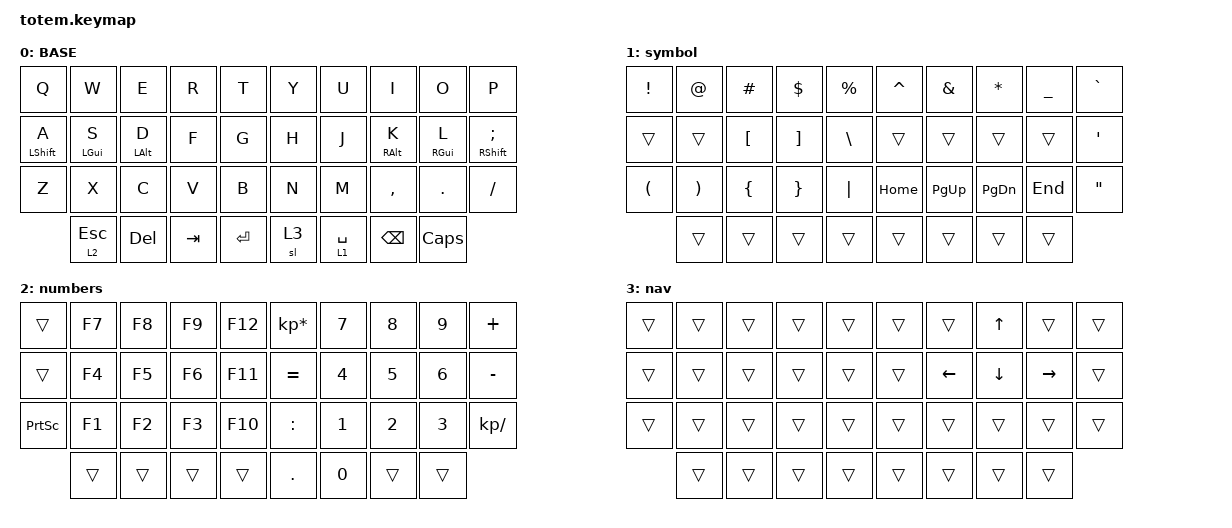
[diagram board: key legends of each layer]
//
//                                                        ▀▀▀▀▀     ▀▀▀▀▀          ▀▀█▀▀
//                                                        ▄▀▀▀▄  ▄  ▄▀▀▀▄  ▄  ▄▀▀▀▄  █  ▄▀▀▀▄
//                                                        █   █  █  █   █  █  █   █  █  █   █
//                                                         ▀▀▀   █   ▀▀▀   █   ▀▀▀   ▀   ▀▀▀
//                                                               █      ▄▄▄█▄▄▄    █   █  
//                                                               ▀      █  █  █     █▄█
//                                                             ▀▀▀▀▀    █  █  █      ▀
//                                                                      ▀  ▀  ▀
//
// ▄▄▄▄▄▄▄▄▄▄▄▄▄▄▄▄▄▄▄▄▄▄▄▄▄▄▄▄▄▄▄▄▄▄▄▄▄▄▄▄▄▄▄▄▄▄▄▄▄▄▄▄▄▄▄▄▄▄▄▄▄▄▄▄▄▄▄▄▄▄▄▄▄▄▄▄▄▄▄▄▄▄▄▄▄▄▄▄▄▄▄▄▄▄▄▄▄▄▄▄▄▄▄▄▄▄▄▄▄▄▄▄▄▄▄▄▄▄▄▄▄▄▄▄▄▄▄▄▄▄▄▄▄▄▄▄▄▄▄▄▄▄▄▄▄▄▄▄▄

#include <behaviors.dtsi>
#include <dt-bindings/zmk/keys.h>

#define BASE 0
#define SYM  1   // was NAV
#define NUM  2   // was SYM
#define NAV  3   // was ADJ

&mt {
    quick-tap-ms = <100>;
    global-quick-tap;
    flavor = "tap-preferred";
    tapping-term-ms = <170>;
};

/ {
    combos {
        compatible = "zmk,combos";

        combo_esc {
            timeout-ms = <50>;
            key-positions = <0 1>;
            bindings = <&kp ESC>;
        };

        Enter {
            bindings = <&kp ENTER>;
            key-positions = <16 17 18>;
        };
    };

    macros {
        gif: gif {
            label = "giphy";
            compatible = "zmk,behavior-macro";
            #binding-cells = <0>;
            bindings =
                <&macro_press>,
                <&kp LSHFT>,
                <&macro_tap>,
                <&kp N2>,
                <&macro_release>,
                <&kp LSHFT>,
                <&macro_tap>,
                <&kp G &kp I &kp F>;
        };
    };

    behaviors {
        HMShiftR: HMShiftR {
            compatible = "zmk,behavior-hold-tap";
            label = "HMSHIFTR";
            bindings = <&kp>, <&kp>;

            #binding-cells = <2>;
            tapping-term-ms = <200>;
            hold-while-undecided;
            hold-trigger-key-positions = <20 21 10 0 1 11 22 2 12 23 3 13 24 25 14 4 33 34 32>;
            hold-trigger-on-release;
        };

        HMShiftL: HMShiftL {
            compatible = "zmk,behavior-hold-tap";
            label = "HMSHIFTL";
            bindings = <&kp>, <&kp>;

            #binding-cells = <2>;
            tapping-term-ms = <200>;
            hold-while-undecided;
            hold-trigger-on-release;
            hold-trigger-key-positions = <31 30 19 8 18 29 9 7 17 28 6 16 27 5 15 26 35 36 37>;
        };

        HMR: HMR {
            compatible = "zmk,behavior-hold-tap";
            label = "HMR";
            bindings = <&kp>, <&kp>;

            #binding-cells = <2>;
            tapping-term-ms = <200>;
            hold-while-undecided;
            hold-trigger-key-positions = <20 21 10 0 1 11 22 2 12 23 3 13 24 25 14 4 33 34 32>;
            hold-trigger-on-release;
            flavor = "tap-preferred";
        };

        HML: HML {
            compatible = "zmk,behavior-hold-tap";
            label = "HML";
            bindings = <&kp>, <&kp>;

            #binding-cells = <2>;
            tapping-term-ms = <200>;
            hold-while-undecided;
            hold-trigger-on-release;
            hold-trigger-key-positions = <31 30 19 8 18 29 9 7 17 28 6 16 27 5 15 26 35 36 37>;
            flavor = "tap-preferred";
        };
    };

    keymap {
        compatible = "zmk,keymap";

        // ▄▄▄▄▄▄▄▄▄▄▄▄▄▄▄▄▄▄▄▄▄▄▄▄▄▄▄▄▄▄▄▄▄▄▄▄▄▄▄▄▄▄▄▄▄▄▄▄▄▄▄▄▄▄▄▄▄▄▄▄▄▄▄▄▄▄▄▄▄▄▄▄▄▄▄▄▄▄▄▄▄▄▄▄▄▄▄▄▄▄▄▄▄▄▄▄▄▄▄▄▄▄▄▄▄▄▄▄▄▄▄▄▄▄▄▄▄▄▄▄▄▄▄▄▄▄▄▄▄▄▄▄▄▄▄▄▄▄▄▄▄▄▄▄▄▄▄▄▄

        base_layer {
            // ┏━━━━━━━━━━━━━━━━━━━━━━━━━━━━━━━━━━━━━━━┓

            label = "BASE";

            // ┗━━━━━━━━━━━━━━━━━━━━━━━━━━━━━━━━━━━━━━━┛
            //             ┏━━━━━━━━━━━┳━━━━━━━━━━━┳━━━━━━━━━━━┳━━━━━━━━━━━┳━━━━━━━━━━━┓   ┏━━━━━━━━━━━┳━━━━━━━━━━━┳━━━━━━━━━━━┳━━━━━━━━━━━┳━━━━━━━━━━━┓
            //             ┃     Q     ┃     W     ┃     F     ┃     P     ┃     G     ┃   ┃     J     ┃     L     ┃     U     ┃     Y     ┃     ;     ┃
            //             ┣━━━━━━━━━━━╋━━━━━━━━━━━╋━━━━━━━━━━━╋━━━━━━━━━━━╋━━━━━━━━━━━┫   ┣━━━━━━━━━━━╋━━━━━━━━━━━╋━━━━━━━━━━━╋━━━━━━━━━━━╋━━━━━━━━━━━┫
            //             ┃     A     ┃     R     ┃     S     ┃     T     ┃     D     ┃   ┃     H     ┃     N     ┃     E     ┃     I     ┃     O     ┃
            // ┏━━━━━━━━━━━╋━━━━━━━━━━━╋━━━━━━━━━━━╋━━━━━━━━━━━╋━━━━━━━━━━━╋━━━━━━━━━━━┫   ┣━━━━━━━━━━━╋━━━━━━━━━━━╋━━━━━━━━━━━╋━━━━━━━━━━━╋━━━━━━━━━━━╋━━━━━━━━━━━┓
            // ┃           ┃     Z     ┃     X     ┃     C     ┃     V     ┃     B     ┃   ┃     K     ┃     M     ┃     ,     ┃     .     ┃     /     ┃           ┃
            // ┗━━━━━━━━━━━┻━━━━━━━━━━━┻━━━━━━━━━━━╋━━━━━━━━━━━╋━━━━━━━━━━━╋━━━━━━━━━━━┫   ┣━━━━━━━━━━━╋━━━━━━━━━━━╋━━━━━━━━━━━╋━━━━━━━━━━━┻━━━━━━━━━━━┻━━━━━━━━━━━┛
            //                                     ┃           ┃    TAB    ┃    SPC    ┃   ┃   ENTER   ┃   BSPC    ┃           ┃
            //                                     ┗━━━━━━━━━━━┻━━━━━━━━━━━┻━━━━━━━━━━━┛   ┗━━━━━━━━━━━┻━━━━━━━━━━━┻━━━━━━━━━━━┛

            bindings = <
              &kp Q                   &kp W            &kp E            &kp R    &kp T        &kp Y  &kp U        &kp I             &kp O             &kp P
              &HMShiftL LEFT_SHIFT A  &HML LEFT_GUI S  &HML LEFT_ALT D  &kp F    &kp G        &kp H  &kp J        &HMR RIGHT_ALT K  &HMR RIGHT_GUI L  &HMShiftR RIGHT_SHIFT SEMICOLON
              &kp Z                   &kp X            &kp C            &kp V    &kp B        &kp N  &kp M        &kp COMMA         &kp DOT           &kp FSLH
                                      &lt 2 ESCAPE     &kp DELETE       &kp TAB  &kp ENTER    &sl 3  &lt 1 SPACE  &kp BSPC          &kp CAPS
            >;
        };

        // ▄▄▄▄▄▄▄▄▄▄▄▄▄▄▄▄▄▄▄▄▄▄▄▄▄▄▄▄▄▄▄▄▄▄▄▄▄▄▄▄▄▄▄▄▄▄▄▄▄▄▄▄▄▄▄▄▄▄▄▄▄▄▄▄▄▄▄▄▄▄▄▄▄▄▄▄▄▄▄▄▄▄▄▄▄▄▄▄▄▄▄▄▄▄▄▄▄▄▄▄▄▄▄▄▄▄▄▄▄▄▄▄▄▄▄▄▄▄▄▄▄▄▄▄▄▄▄▄▄▄▄▄▄▄▄▄▄▄▄▄▄▄▄▄▄▄▄▄▄
        // ▄▄▄▄▄▄▄▄▄▄▄▄▄▄▄▄▄▄▄▄▄▄▄▄▄▄▄▄▄▄▄▄▄▄▄▄▄▄▄▄▄▄▄▄▄▄▄▄▄▄▄▄▄▄▄▄▄▄▄▄▄▄▄▄▄▄▄▄▄▄▄▄▄▄▄▄▄▄▄▄▄▄▄▄▄▄▄▄▄▄▄▄▄▄▄▄▄▄▄▄▄▄▄▄▄▄▄▄▄▄▄▄▄▄▄▄▄▄▄▄▄▄▄▄▄▄▄▄▄▄▄▄▄▄▄▄▄▄▄▄▄▄▄▄▄▄▄▄▄
        // ▄▄▄▄▄▄▄▄▄▄▄▄▄▄▄▄▄▄▄▄▄▄▄▄▄▄▄▄▄▄▄▄▄▄▄▄▄▄▄▄▄▄▄▄▄▄▄▄▄▄▄▄▄▄▄▄▄▄▄▄▄▄▄▄▄▄▄▄▄▄▄▄▄▄▄▄▄▄▄▄▄▄▄▄▄▄▄▄▄▄▄▄▄▄▄▄▄▄▄▄▄▄▄▄▄▄▄▄▄▄▄▄▄▄▄▄▄▄▄▄▄▄▄▄▄▄▄▄▄▄▄▄▄▄▄▄▄▄▄▄▄▄▄▄▄▄▄▄▄

        symbol {
            bindings = <
        &kp EXCLAMATION       &kp AT                 &kp POUND         &kp DOLLAR         &kp PERCENT      &kp CARET  &kp AMPERSAND  &kp ASTERISK   &kp UNDERSCORE  &kp GRAVE
        &trans                &trans                 &kp LEFT_BRACKET  &kp RIGHT_BRACKET  &kp BACKSLASH    &trans     &trans         &trans         &trans          &kp SQT
        &kp LEFT_PARENTHESIS  &kp RIGHT_PARENTHESIS  &kp LEFT_BRACE    &kp RIGHT_BRACE    &kp PIPE         &kp HOME   &kp PAGE_UP    &kp PAGE_DOWN  &kp END         &kp DOUBLE_QUOTES  
                                     &trans                &trans            &trans             &trans           &trans     &trans         &trans    &trans
            >;
        };

        numbers {
            bindings = <
        &trans           &kp F7  &kp F8  &kp F9  &kp F12    &kp KP_MULTIPLY  &kp N7  &kp N8  &kp N9  &kp PLUS
        &trans           &kp F4  &kp F5  &kp F6  &kp F11    &kp EQUAL        &kp N4  &kp N5  &kp N6  &kp MINUS
  &kp PRINTSCREEN  &kp F1  &kp F2  &kp F3  &kp F10    &kp COLON        &kp N1  &kp N2  &kp N3  &kp KP_DIVIDE  
                                &trans &trans  &trans  &trans     &kp DOT          &kp N0  &trans &trans
            >;
        };

        nav {
            bindings = <
        &trans  &trans  &trans  &trans  &trans    &trans  &trans    &kp UP_ARROW  &trans     &trans
        &trans  &trans  &trans  &trans  &trans    &trans  &kp LEFT  &kp DOWN      &kp RIGHT  &trans
  &trans  &trans  &trans  &trans  &trans    &trans  &trans    &trans        &trans     &trans  
                   &trans     &trans  &trans  &trans    &trans  &trans    &trans &trans
            >;
        };
    };
};
